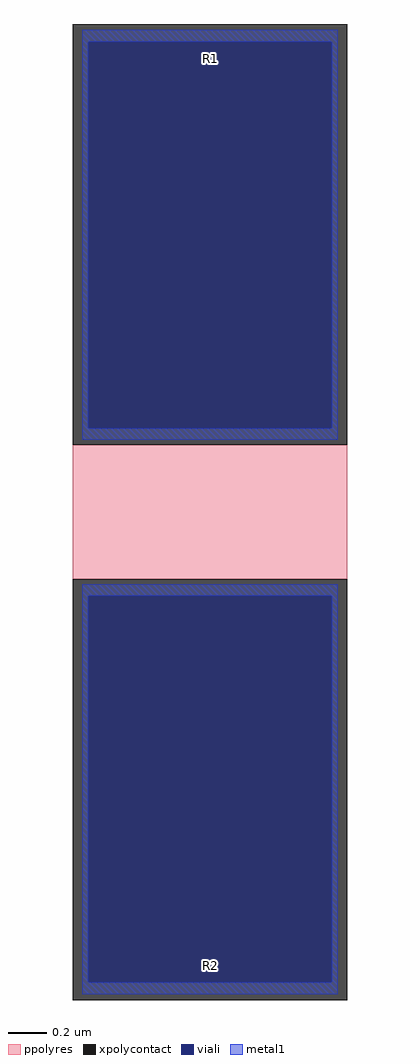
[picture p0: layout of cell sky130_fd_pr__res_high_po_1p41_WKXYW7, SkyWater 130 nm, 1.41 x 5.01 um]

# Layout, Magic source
magic
tech sky130A
magscale 1 2
<< xpolycontact >>
rect -141 69 141 501
rect -141 -501 141 -69
<< ppolyres >>
rect -141 -69 141 69
<< viali >>
rect -125 86 125 483
rect -125 -483 125 -86
<< metal1 >>
rect -131 483 131 495
rect -131 86 -125 483
rect 125 86 131 483
rect -131 74 131 86
rect -131 -86 131 -74
rect -131 -483 -125 -86
rect 125 -483 131 -86
rect -131 -495 131 -483
<< labels >>
rlabel xpolycontact 0 466 0 466 0 R1
port 1 nsew
rlabel xpolycontact 0 -466 0 -466 0 R2
port 2 nsew
<< properties >>
string gencell sky130_fd_pr__res_high_po_1p41
string library sky130
string parameters w 1.41 l 0.85 m 1 nx 1 wmin 1.410 lmin 0.50 class resistor rho 319.8 val 469.127 dummy 0 dw 0.0 term 194.82 sterm 0.0 caplen 0 guard 0 glc 1 grc 1 gtc 1 gbc 1 compatible {sky130_fd_pr__res_high_po_0p35  sky130_fd_pr__res_high_po_0p69 sky130_fd_pr__res_high_po_1p41  sky130_fd_pr__res_high_po_2p85 sky130_fd_pr__res_high_po_5p73} snake 0 full_metal 1 wmax 1.410 n_guard 0 hv_guard 0 vias 1 viagb 0 viagt 0 viagl 0 viagr 0 doports 1
<< end >>
